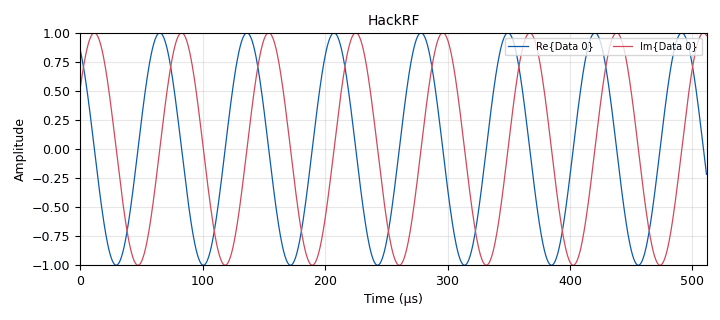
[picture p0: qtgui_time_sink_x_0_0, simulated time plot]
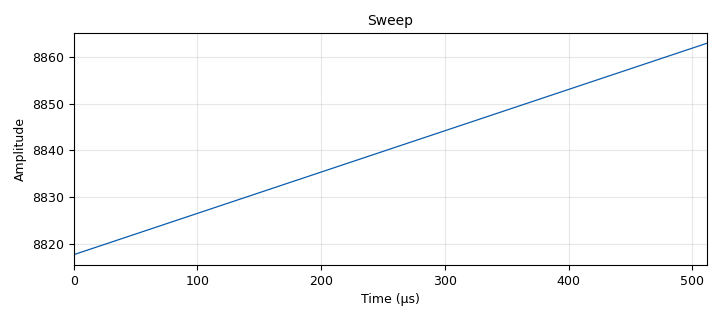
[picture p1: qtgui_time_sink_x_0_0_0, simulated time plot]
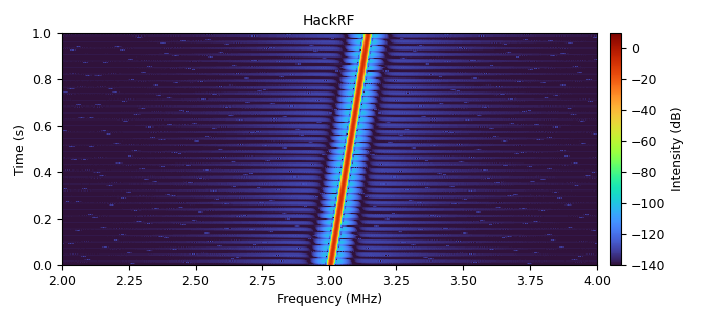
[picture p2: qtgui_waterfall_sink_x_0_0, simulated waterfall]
<?xml version='1.0' encoding='utf-8'?>
<?grc format='1' created='3.7.11'?>
<flow_graph>
<block>
<key>options</key>
<param><key>id</key><value>hack_tx</value></param>
<param><key>generate_options</key><value>qt_gui</value></param>
<param><key>title</key><value>hack_tx</value></param>
</block>
<block>
<key>variable_qtgui_range</key>
<param><key>id</key><value>amplitude</value></param>
<param><key>value</key><value>889400</value></param>
<param><key>label</key><value>Amplitude</value></param>
<param><key>orient</key><value>Qt.Horizontal</value></param>
<param><key>start</key><value>0</value></param>
<param><key>step</key><value>100</value></param>
<param><key>stop</key><value>5000000</value></param>
</block>
<block>
<key>variable_qtgui_range</key>
<param><key>id</key><value>center_freq_MHz</value></param>
<param><key>value</key><value>3</value></param>
<param><key>orient</key><value>Qt.Horizontal</value></param>
<param><key>start</key><value>2.5</value></param>
<param><key>step</key><value>0.1</value></param>
<param><key>stop</key><value>5.5</value></param>
</block>
<block>
<key>variable</key>
<param><key>id</key><value>samp_rate</value></param>
<param><key>value</key><value>2e6</value></param>
</block>
<block>
<key>variable_qtgui_range</key>
<param><key>id</key><value>sensitivity</value></param>
<param><key>value</key><value>10</value></param>
<param><key>label</key><value>Sensitivity</value></param>
<param><key>orient</key><value>Qt.Horizontal</value></param>
<param><key>start</key><value>0</value></param>
<param><key>step</key><value>1</value></param>
<param><key>stop</key><value>10</value></param>
</block>
<block>
<key>analog_sig_source_x</key>
<param><key>id</key><value>analog_sig_source_x_0</value></param>
<param><key>amp</key><value>amplitude</value></param>
<param><key>freq</key><value>0.1</value></param>
<param><key>offset</key><value>-amplitude/2</value></param>
<param><key>type</key><value>float</value></param>
<param><key>samp_rate</key><value>samp_rate</value></param>
<param><key>waveform</key><value>analog.GR_SAW_WAVE</value></param>
</block>
<block>
<key>blocks_vco_c</key>
<param><key>id</key><value>blocks_vco_c_0</value></param>
<param><key>amplitude</key><value>1</value></param>
<param><key>samp_rate</key><value>samp_rate</value></param>
<param><key>sensitivity</key><value>sensitivity</value></param>
</block>
<block>
<key>osmosdr_sink</key>
<param><key>id</key><value>osmosdr_sink_0</value></param>
<param><key>bb_gain0</key><value>0</value></param>
<param><key>freq0</key><value>center_freq_MHz*1e6</value></param>
<param><key>if_gain0</key><value>14</value></param>
<param><key>gain0</key><value>14</value></param>
<param><key>args</key><value>hackrf</value></param>
<param><key>type</key><value>fc32</value></param>
<param><key>sample_rate</key><value>samp_rate</value></param>
<param><key>sync</key><value></value></param>
</block>
<block>
<key>qtgui_time_sink_x</key>
<param><key>id</key><value>qtgui_time_sink_x_0_0</value></param>
<param><key>color1</key><value>"blue"</value></param>
<param><key>label1</key><value></value></param>
<param><key>color2</key><value>"red"</value></param>
<param><key>label2</key><value></value></param>
<param><key>name</key><value>HackRF</value></param>
<param><key>size</key><value>1024</value></param>
<param><key>srate</key><value>samp_rate</value></param>
<param><key>type</key><value>complex</value></param>
</block>
<block>
<key>qtgui_time_sink_x</key>
<param><key>id</key><value>qtgui_time_sink_x_0_0_0</value></param>
<param><key>autoscale</key><value>True</value></param>
<param><key>color1</key><value>"blue"</value></param>
<param><key>label1</key><value></value></param>
<param><key>name</key><value>Sweep</value></param>
<param><key>size</key><value>1024</value></param>
<param><key>srate</key><value>samp_rate</value></param>
<param><key>type</key><value>float</value></param>
</block>
<block>
<key>qtgui_waterfall_sink_x</key>
<param><key>id</key><value>qtgui_waterfall_sink_x_0_0</value></param>
<param><key>bw</key><value>samp_rate</value></param>
<param><key>fc</key><value>center_freq_MHz*1e6</value></param>
<param><key>fftsize</key><value>1024/2</value></param>
<param><key>name</key><value>HackRF</value></param>
<param><key>showports</key><value>True</value></param>
<param><key>type</key><value>complex</value></param>
<param><key>update_time</key><value>0.05</value></param>
<param><key>wintype</key><value>firdes.WIN_BLACKMAN_hARRIS</value></param>
</block>
<connection><source_block_id>analog_sig_source_x_0</source_block_id><sink_block_id>blocks_vco_c_0</sink_block_id><source_key>0</source_key><sink_key>0</sink_key></connection>
<connection><source_block_id>analog_sig_source_x_0</source_block_id><sink_block_id>qtgui_time_sink_x_0_0_0</sink_block_id><source_key>0</source_key><sink_key>0</sink_key></connection>
<connection><source_block_id>blocks_vco_c_0</source_block_id><sink_block_id>osmosdr_sink_0</sink_block_id><source_key>0</source_key><sink_key>0</sink_key></connection>
<connection><source_block_id>blocks_vco_c_0</source_block_id><sink_block_id>qtgui_time_sink_x_0_0</sink_block_id><source_key>0</source_key><sink_key>0</sink_key></connection>
<connection><source_block_id>blocks_vco_c_0</source_block_id><sink_block_id>qtgui_waterfall_sink_x_0_0</sink_block_id><source_key>0</source_key><sink_key>0</sink_key></connection>
</flow_graph>
